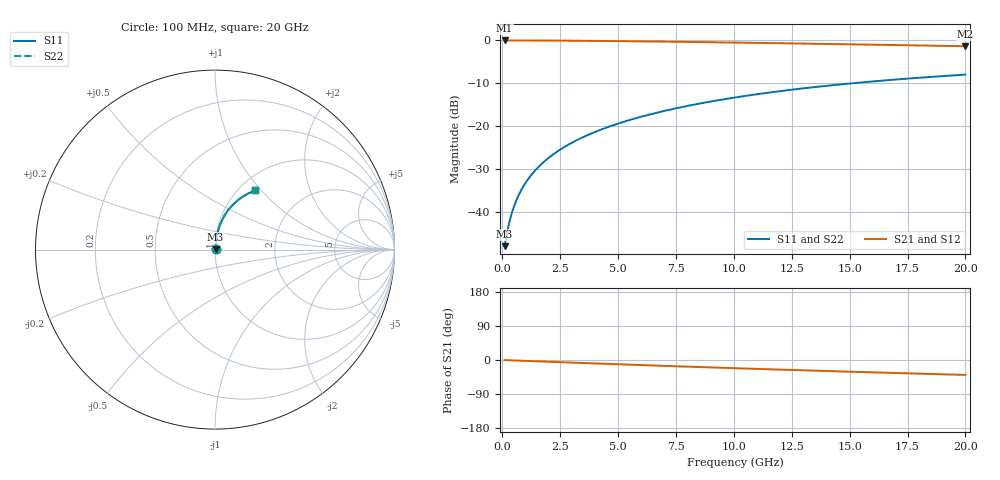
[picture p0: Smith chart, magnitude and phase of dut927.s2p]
! Touchstone file exported from HFSS 2024.1.0
!  File:  C:/UserFiles/LocalFiles/RDL_TSV_Batchsim/temp_RDL_bottom_927_1779941179.aedt
!  Generated:  12:09:11 PM May 28, 2026
!  Design:  RDL_bottom
!  Project:  temp_RDL_bottom_927_1779941179
!  Setup:  Setup1
!  Solution:  Sweep
! Variables:
!  dtsv = 10.80580581um
!  hbump = 3um
!  htsv = 98.39um
!  ldown = 524.95um
!  lrdl = 100um
!  p = 40
!  p1 = 49.07um
!  rhole = 1um
!  t = 450um
!  tdown = 3.32um
!  trdl = 3.915915916um
!  wdown = 17.58um
!  wrdl = 20um
# GHz S MA R 50.000000
! Terminal data exported
! Port[1] = RDL1_T1
! Port[2] = RDL1_T2
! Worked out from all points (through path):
!   200 points, 100 MHz to 20 GHz, reference 50 ohm
!   highest |S21| = -0.03 dB at 100 MHz (marker M1); lowest = -1.4 dB at 20 GHz (marker M2)
!   group delay of S21, straight-line fit = 5.45 ps
!   lowest |S11| = -47.8 dB at 100 MHz (marker M3), VSWR 1.01, Z = 50.3 + j0.23 ohm
!   |S11| at or under -10 dB: start of sweep to 15.08 GHz
!   |S22| runs from -47.8 to -8.0 dB; largest |S21 - S12| = 2.9e-15
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0.1  0.004053 34.3  0.9966 -0.2  0.9966 -0.2  0.004053 34.3
! Gamma 0 0 0 0
! Port Impedance 50 0 50 0
0.2  0.005695 52.7  0.9965 -0.5  0.9965 -0.5  0.005695 52.7
0.3  0.00762 61.9  0.9964 -0.7  0.9964 -0.7  0.00762 61.9
0.4  0.009625 67.2  0.9962 -0.9  0.9962 -0.9  0.009625 67.2
0.5  0.01166 70.7  0.9961 -1.2  0.9961 -1.2  0.01166 70.7
0.6  0.0137 73.1  0.9959 -1.4  0.9959 -1.4  0.0137 73.1
0.8  0.01782 76.3  0.9956 -1.9  0.9956 -1.9  0.01782 76.3
1.1  0.02406 79.0  0.9951 -2.6  0.9951 -2.6  0.02406 79.0
1.3  0.02825 80.1  0.9947 -3.0  0.9947 -3.0  0.02825 80.1
1.6  0.03457 81.1  0.9941 -3.7  0.9941 -3.7  0.03457 81.1
2.1  0.04519 82.0  0.9928 -4.8  0.9928 -4.8  0.04519 82.0
2.7  0.05801 82.2  0.9907 -6.2  0.9907 -6.2  0.05801 82.2
3.5  0.07522 81.9  0.9874 -8.0  0.9874 -8.0  0.07522 81.9
4.2  0.09037 81.4  0.9839 -9.5  0.9839 -9.5  0.09037 81.4
5  0.1078 80.5  0.9794 -11.3  0.9794 -11.3  0.1078 80.5
5.9  0.1274 79.4  0.9738 -13.2  0.9738 -13.2  0.1274 79.4
6.8  0.147 78.1  0.9676 -15.1  0.9676 -15.1  0.147 78.1
8.4  0.1816 75.5  0.9556 -18.4  0.9556 -18.4  0.1816 75.5
10.1  0.2177 72.7  0.9418 -21.8  0.9418 -21.8  0.2177 72.7
13.4  0.2845 66.9  0.9134 -28.0  0.9134 -28.0  0.2845 66.9
16.7  0.3453 61.1  0.8837 -33.8  0.8837 -33.8  0.3453 61.1
20  0.3994 55.7  0.8539 -39.3  0.8539 -39.3  0.3994 55.7
